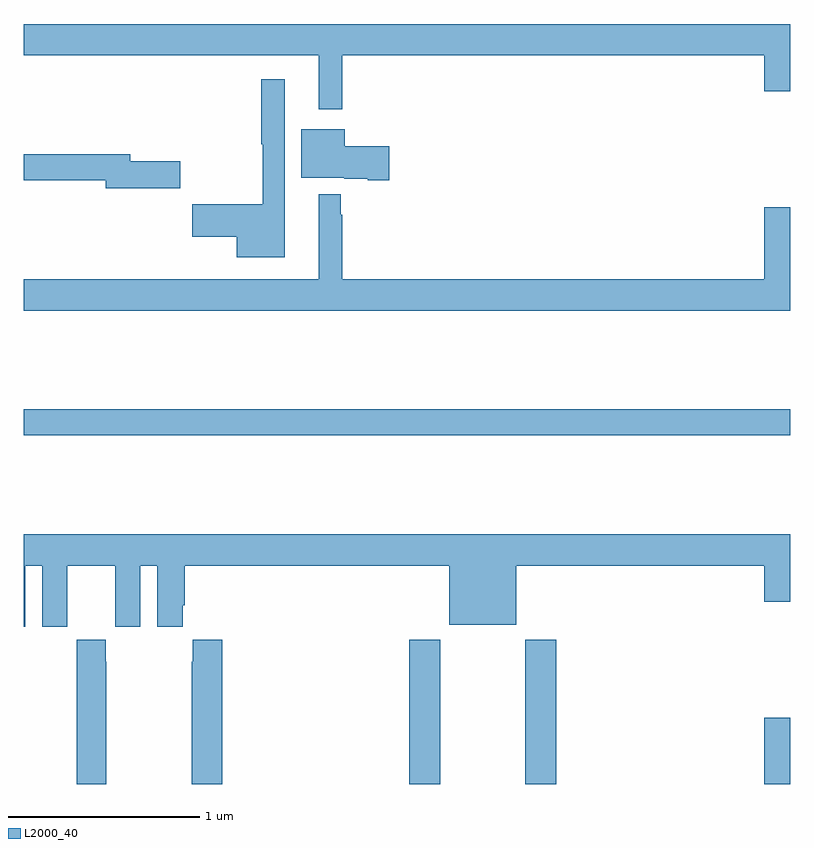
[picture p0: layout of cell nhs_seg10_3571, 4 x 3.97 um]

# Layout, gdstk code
import gdstk
lib = gdstk.Library(unit=1e-6, precision=1e-09)
def R(c, l, rs):  # rectangles x0, y0, x1, y1
    for r in rs: c.add(gdstk.rectangle(r[:2], r[2:], *l))
def P(c, l, *ps):  # polygons
    for p in ps: c.add(gdstk.Polygon(p, *l))
L2000_40 = (2000, 40)

nhs_seg10_3571 = lib.new_cell('nhs_seg10_3571')
R(nhs_seg10_3571, L2000_40, [(307.013,1308.5,307.173,1309.252), (307.618,1308.5,307.778,1309.252), (308.864,1308.5,309,1308.847), (305,1310.32,309,1310.456)])
P(nhs_seg10_3571, L2000_40, [(306.661,1312.304),(308.864,1312.304),(308.864,1312.116),(309,1312.116),(309,1312.468),(305,1312.468),(305,1312.304),(306.539,1312.304),(306.539,1312.023),(306.661,1312.023)],
  [(306.361,1312.18),(306.24,1312.18),(306.24,1311.839),(306.247,1311.839),(306.247,1311.527),(305.88,1311.527),(305.88,1311.356),(306.11,1311.356),(306.11,1311.251),(306.361,1311.251)],
  [(306.907,1311.831),(306.676,1311.831),(306.676,1311.919),(306.449,1311.919),(306.449,1311.665),(306.672,1311.665),(306.672,1311.659),(306.794,1311.659),(306.794,1311.653),(306.907,1311.653)],
  [(305.815,1311.752),(305.554,1311.752),(305.554,1311.788),(305,1311.788),(305,1311.652),(305.426,1311.652),(305.426,1311.61),(305.815,1311.61)],
  [(309,1311.511),(308.864,1311.511),(308.864,1311.136),(306.661,1311.136),(306.661,1311.473),(306.653,1311.473),(306.653,1311.58),(306.539,1311.58),(306.539,1311.136),(305,1311.136),(305,1310.972),(309,1310.972)],
  [(305.008,1309.64),(305.096,1309.64),(305.096,1309.32),(305.226,1309.32),(305.226,1309.432),(305.227,1309.432),(305.227,1309.64),(305.477,1309.64),(305.477,1309.432),(305.478,1309.432),(305.478,1309.32),(305.608,1309.32),(305.608,1309.64),(305.696,1309.64),(305.696,1309.32),(305.83,1309.32),(305.83,1309.432),(305.84,1309.432),(305.84,1309.64),(307.22,1309.64),(307.22,1309.331),(307.57,1309.331),(307.57,1309.64),(308.864,1309.64),(308.864,1309.452),(309,1309.452),(309,1309.804),(305,1309.804),(305,1309.32),(305.008,1309.32)],
  [(306.035,1309.252),(305.881,1309.252),(305.881,1309.139),(305.875,1309.139),(305.875,1308.5),(306.035,1308.5)],
  [(305.43,1309.139),(305.427,1309.139),(305.427,1309.252),(305.277,1309.252),(305.277,1309.139),(305.275,1309.139),(305.275,1308.5),(305.43,1308.5)])

lib.write_gds('nhs_seg10_3571.gds')
